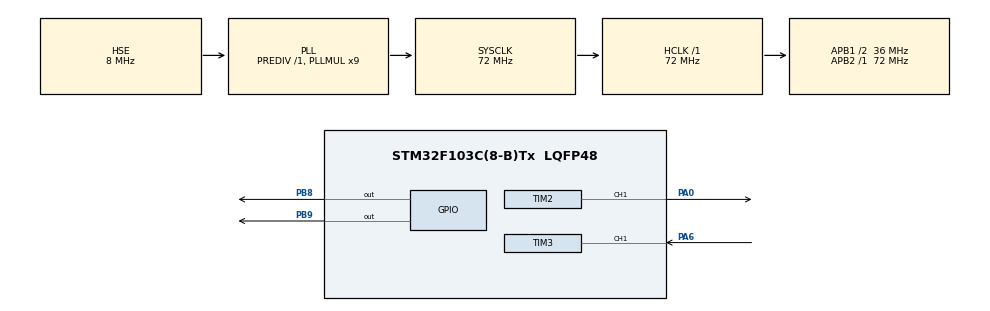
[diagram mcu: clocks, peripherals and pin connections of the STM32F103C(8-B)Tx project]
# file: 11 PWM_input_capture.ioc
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Mcu.Family=STM32F1
Mcu.Name=STM32F103C(8-B)Tx
Mcu.Package=LQFP48
NVIC.PriorityGroup=NVIC_PRIORITYGROUP_4
NVIC.TIM3_IRQn=true\:0\:0\:false\:false\:true\:true\:true\:true
PA0-WKUP.Signal=S_TIM2_CH1_ETR
PA13.Mode=Serial_Wire
PA13.Signal=SYS_JTMS-SWDIO
PA14.Mode=Serial_Wire
PA14.Signal=SYS_JTCK-SWCLK
PA6.Signal=S_TIM3_CH1
PB8.GPIO_ModeDefaultOutputPP=GPIO_MODE_OUTPUT_OD
PB8.GPIO_PuPd=GPIO_NOPULL
PB8.Signal=GPIO_Output
PB9.GPIO_ModeDefaultOutputPP=GPIO_MODE_OUTPUT_OD
PB9.GPIO_PuPd=GPIO_NOPULL
PB9.Signal=GPIO_Output
PD0-OSC_IN.Mode=HSE-External-Oscillator
PD0-OSC_IN.Signal=RCC_OSC_IN
PD1-OSC_OUT.Mode=HSE-External-Oscillator
PD1-OSC_OUT.Signal=RCC_OSC_OUT
ProjectManager.HeapSize=0x200
ProjectManager.StackSize=0x400
ProjectManager.TargetToolchain=MDK-ARM V5.32
RCC.AHBFreq_Value=72000000
RCC.APB1CLKDivider=RCC_HCLK_DIV2
RCC.APB1Freq_Value=36000000
RCC.APB1TimFreq_Value=72000000
RCC.APB2Freq_Value=72000000
RCC.APB2TimFreq_Value=72000000
RCC.HCLKFreq_Value=72000000
RCC.PLLMUL=RCC_PLL_MUL9
RCC.PLLSourceVirtual=RCC_PLLSOURCE_HSE
RCC.SYSCLKFreq_VALUE=72000000
RCC.SYSCLKSource=RCC_SYSCLKSOURCE_PLLCLK
RCC.USBFreq_Value=72000000
SH.S_TIM2_CH1_ETR.0=TIM2_CH1,PWM Generation1 CH1
SH.S_TIM3_CH1.0=TIM3_CH1,Input_Capture1_from_TI1
SH.S_TIM3_CH1.1=TIM3_CH1,TriggerSource_TI1FP1
TIM2.Channel-PWM\ Generation1\ CH1=TIM_CHANNEL_1
TIM2.Period=100-1
TIM2.Prescaler=720-1
TIM2.Pulse-PWM\ Generation1\ CH1=50
TIM3.AutoReloadPreload=TIM_AUTORELOAD_PRELOAD_ENABLE
TIM3.Channel-Input_Capture1_from_TI1=TIM_CHANNEL_1
TIM3.Channel-Input_Capture2_from_TI1_63=TIM_CHANNEL_2
TIM3.ICPolarity_CH2=TIM_INPUTCHANNELPOLARITY_FALLING
TIM3.Prescaler=72-1
VP_TIM2_VS_ClockSourceINT.Mode=Internal
VP_TIM3_VS_ClockSourceINT.Mode=Internal
VP_TIM3_VS_ControllerModeReset.Mode=Reset Mode
VP_TIM3_VS_indirect_ch1.Mode=Input_Capture2_from_TI1_63
board=custom

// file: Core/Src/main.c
/* USER CODE BEGIN Header */
/*
TIM3使用输入捕获测量的TIM2的频率为1000HZ
根据CUBEMX，TIM2的预分频系数为720-1，ARR值为100-1。计算得到的频率也为1000hz
*/
/**
  ******************************************************************************
  * @file           : main.c
  * @brief          : Main program body
  ******************************************************************************
  * @attention
  *
  * Copyright (c) 2026 STMicroelectronics.
  * All rights reserved.
  *
  * This software is licensed under terms that can be found in the LICENSE file
  * in the root directory of this software component.
  * If no LICENSE file comes with this software, it is provided AS-IS.
  *
  ******************************************************************************
  */
/* USER CODE END Header */
#include "main.h"
#include "tim.h"
#include "gpio.h"

/* USER CODE BEGIN Includes */
#include "OLED.h"

/* USER CODE END Includes */

/* USER CODE BEGIN PV */
int32_t Freq; // 频率
uint32_t duty; // 占空比
uint32_t capture; // 捕获
/*测频率与占空比*/
void HAL_TIM_IC_CaptureCallback(TIM_HandleTypeDef *htim)
{
	if(htim->Instance == TIM3)
	{
		// 通道一上升沿触发，测频率
		if(htim->Channel == HAL_TIM_ACTIVE_CHANNEL_1)
		{
			// 读取CCR1的值
			capture = HAL_TIM_ReadCapturedValue(htim,TIM_CHANNEL_1)+1;
			Freq = 1000000 / capture;//测周法(这个频率是TIM3定时器的频率)
		}
		// 通道二下降沿触发，测占空比
		else if(htim->Channel == HAL_TIM_ACTIVE_CHANNEL_2)
		{
			// 读取CCR2的值
			uint32_t capture2 = HAL_TIM_ReadCapturedValue(htim,TIM_CHANNEL_2)+1;
			duty = (capture2 * 100) / capture;
			//			duty = capture2 / capture * 100; // 计算不出占空比
		}

	}
}

/*测占空比*/

/* USER CODE END PV */

void SystemClock_Config(void);

int main(void)
{

  /* MCU Configuration--------------------------------------------------------*/

  /* Reset of all peripherals, Initializes the Flash interface and the Systick. */
  HAL_Init();

  /* Configure the system clock */
  SystemClock_Config();

  /* Initialize all configured peripherals */
  MX_GPIO_Init();
  MX_TIM2_Init();
  MX_TIM3_Init();
  /* USER CODE BEGIN 2 */
  OLED_Init();

// __HAL_TIM_SET_COMPARE(&htim2, TIM_CHANNEL_1, 50);

  HAL_TIM_PWM_Start(&htim2, TIM_CHANNEL_1);
  HAL_TIM_IC_Start_IT(&htim3, TIM_CHANNEL_1); // TI1FP1，测频率
  HAL_TIM_IC_Start_IT(&htim3, TIM_CHANNEL_2);	// TI2FP2，测占空比
  OLED_Clear();
  OLED_ShowString(1,1,"Freq:");
  OLED_ShowString(2,1,"Duty:");
  /* USER CODE END 2 */

  /* Infinite loop */
  while (1)
  {

    /* USER CODE BEGIN 3 */
		OLED_ShowSignedNum(1, 6, Freq, 5);

		OLED_ShowSignedNum(2, 6, duty, 3);
  }
  /* USER CODE END 3 */
}

void SystemClock_Config(void)
{
  RCC_OscInitTypeDef RCC_OscInitStruct = {0};
  RCC_ClkInitTypeDef RCC_ClkInitStruct = {0};

  /** Initializes the RCC Oscillators according to the specified parameters
  * in the RCC_OscInitTypeDef structure.
  */
  RCC_OscInitStruct.OscillatorType = RCC_OSCILLATORTYPE_HSE;
  RCC_OscInitStruct.HSEState = RCC_HSE_ON;
  RCC_OscInitStruct.HSEPredivValue = RCC_HSE_PREDIV_DIV1;
  RCC_OscInitStruct.HSIState = RCC_HSI_ON;
  RCC_OscInitStruct.PLL.PLLState = RCC_PLL_ON;
  RCC_OscInitStruct.PLL.PLLSource = RCC_PLLSOURCE_HSE;
  RCC_OscInitStruct.PLL.PLLMUL = RCC_PLL_MUL9;
  if (HAL_RCC_OscConfig(&RCC_OscInitStruct) != HAL_OK)
  {
    Error_Handler();
  }

  /** Initializes the CPU, AHB and APB buses clocks
  */
  RCC_ClkInitStruct.ClockType = RCC_CLOCKTYPE_HCLK|RCC_CLOCKTYPE_SYSCLK
                              |RCC_CLOCKTYPE_PCLK1|RCC_CLOCKTYPE_PCLK2;
  RCC_ClkInitStruct.SYSCLKSource = RCC_SYSCLKSOURCE_PLLCLK;
  RCC_ClkInitStruct.AHBCLKDivider = RCC_SYSCLK_DIV1;
  RCC_ClkInitStruct.APB1CLKDivider = RCC_HCLK_DIV2;
  RCC_ClkInitStruct.APB2CLKDivider = RCC_HCLK_DIV1;

  if (HAL_RCC_ClockConfig(&RCC_ClkInitStruct, FLASH_LATENCY_2) != HAL_OK)
  {
    Error_Handler();
  }
}

void Error_Handler(void)
{
  __disable_irq();
  while (1)
  {
  }
}
